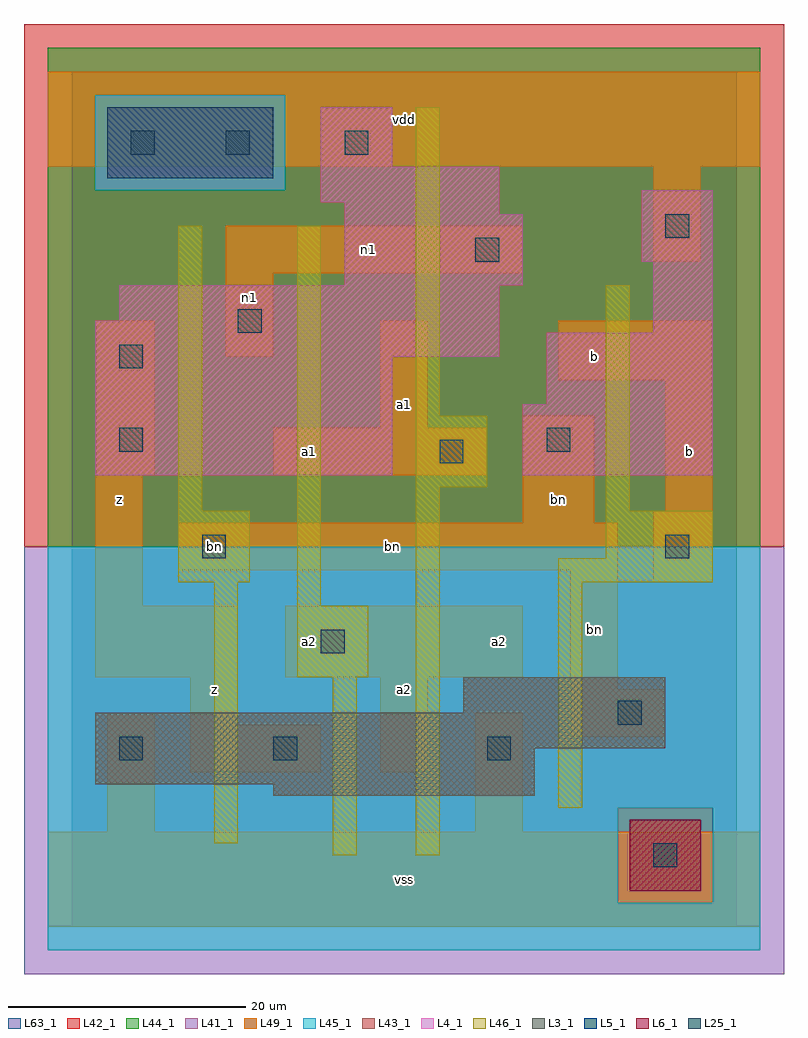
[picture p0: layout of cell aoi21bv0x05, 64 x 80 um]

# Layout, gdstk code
import gdstk
lib = gdstk.Library(unit=1e-6, precision=1e-09)
def R(c, l, rs):  # rectangles x0, y0, x1, y1
    for r in rs: c.add(gdstk.rectangle(r[:2], r[2:], *l))
L3_1 = (3, 1)
L4_1 = (4, 1)
L5_1 = (5, 1)
L6_1 = (6, 1)
L25_1 = (25, 1)
L41_1 = (41, 1)
L42_1 = (42, 1)
L43_1 = (43, 1)
L44_1 = (44, 1)
L45_1 = (45, 1)
L46_1 = (46, 1)
L49_1 = (49, 1)
L63_1 = (63, 1)

aoi21bv0x05 = lib.new_cell('aoi21bv0x05')
R(aoi21bv0x05, L3_1, [(17,11,39,12), (2,12,39,15), (2,15,50,18), (33,18,50,21)])
R(aoi21bv0x05, L4_1, [(2,38,27,48), (38,38,54,44), (40,44,54,50), (2,48,36,51), (49,50,54,56), (4,51,36,54), (23,54,38,60), (48,56,54,62), (23,60,36,61), (21,61,36,64), (21,64,27,69)])
R(aoi21bv0x05, L5_1, [(3,63,17,69)])
R(aoi21bv0x05, L6_1, [(47,3,53,9), (47,3,53,9)])
R(aoi21bv0x05, L25_1, [(49,5,51,7), (4,14,6,16), (17,14,19,16), (35,14,37,16), (46,17,48,19), (21,23,23,25), (11,31,13,33), (50,31,52,33), (31,39,33,41), (4,40,6,42), (40,40,42,42), (4,47,6,49), (14,50,16,52), (34,56,36,58), (50,58,52,60), (5,65,7,67), (13,65,15,67), (23,65,25,67)])
R(aoi21bv0x05, L41_1, [(-4,-4,60,32)])
R(aoi21bv0x05, L42_1, [(-4,32,60,76)])
R(aoi21bv0x05, L43_1, [(47,3,53,9), (17,11,39,12), (2,12,39,15), (2,15,50,18), (33,18,50,21), (2,38,27,48), (38,38,54,44), (40,44,54,50), (2,48,36,51), (49,50,54,56), (4,51,36,54), (23,54,38,60), (48,56,54,62), (23,60,36,61), (21,61,36,64), (3,63,17,69), (21,64,27,69)])
R(aoi21bv0x05, L44_1, [(46,2,54,10), (-2,32,58,62), (-2,62,2,70), (18,62,58,70), (-2,70,58,74)])
R(aoi21bv0x05, L45_1, [(-2,-2,58,2), (-2,2,46,10), (54,2,58,10), (-2,10,58,32), (2,62,18,70)])
R(aoi21bv0x05, L46_1, [(22,6,24,21), (29,6,31,37), (12,7,14,29), (41,10,43,29), (19,21,25,27), (19,27,21,59), (9,29,15,35), (41,29,54,31), (45,31,54,35), (9,35,11,59), (45,35,47,54), (29,37,35,43), (29,43,31,69)])
R(aoi21bv0x05, L49_1, [(-2,0,58,8), (3,8,7,18), (34,8,38,18), (10,13,21,17), (26,13,30,21), (42,16,50,20), (10,17,14,21), (42,20,46,30), (2,21,14,27), (18,21,38,27), (2,27,6,38), (49,29,54,35), (9,30,46,34), (38,34,44,43), (50,35,54,46), (2,38,7,51), (17,38,35,42), (26,42,30,51), (41,46,54,51), (13,48,17,55), (13,55,38,59), (49,56,53,64), (-2,64,58,72)])
R(aoi21bv0x05, L63_1, [(0,0,56,72)])
aoi21bv0x05.add(gdstk.Label('bn', (12,32), layer=49, texttype=1))
aoi21bv0x05.add(gdstk.Label('z', (4,36), layer=49, texttype=1))
aoi21bv0x05.add(gdstk.Label('z', (12,20), layer=49, texttype=1))
aoi21bv0x05.add(gdstk.Label('a2', (20,24), layer=49, texttype=1))
aoi21bv0x05.add(gdstk.Label('a1', (20,40), layer=49, texttype=1))
aoi21bv0x05.add(gdstk.Label('n1', (15,53), layer=49, texttype=1))
aoi21bv0x05.add(gdstk.Label('vss', (28,4), layer=49, texttype=1))
aoi21bv0x05.add(gdstk.Label('a2', (28,20), layer=49, texttype=1))
aoi21bv0x05.add(gdstk.Label('a2', (36,24), layer=49, texttype=1))
aoi21bv0x05.add(gdstk.Label('a1', (28,44), layer=49, texttype=1))
aoi21bv0x05.add(gdstk.Label('n1', (25,57), layer=49, texttype=1))
aoi21bv0x05.add(gdstk.Label('vdd', (28,68), layer=49, texttype=1))
aoi21bv0x05.add(gdstk.Label('bn', (44,25), layer=49, texttype=1))
aoi21bv0x05.add(gdstk.Label('bn', (27,32), layer=49, texttype=1))
aoi21bv0x05.add(gdstk.Label('b', (52,40), layer=49, texttype=1))
aoi21bv0x05.add(gdstk.Label('bn', (41,36), layer=49, texttype=1))
aoi21bv0x05.add(gdstk.Label('b', (44,48), layer=49, texttype=1))

lib.write_gds('aoi21bv0x05.gds')
